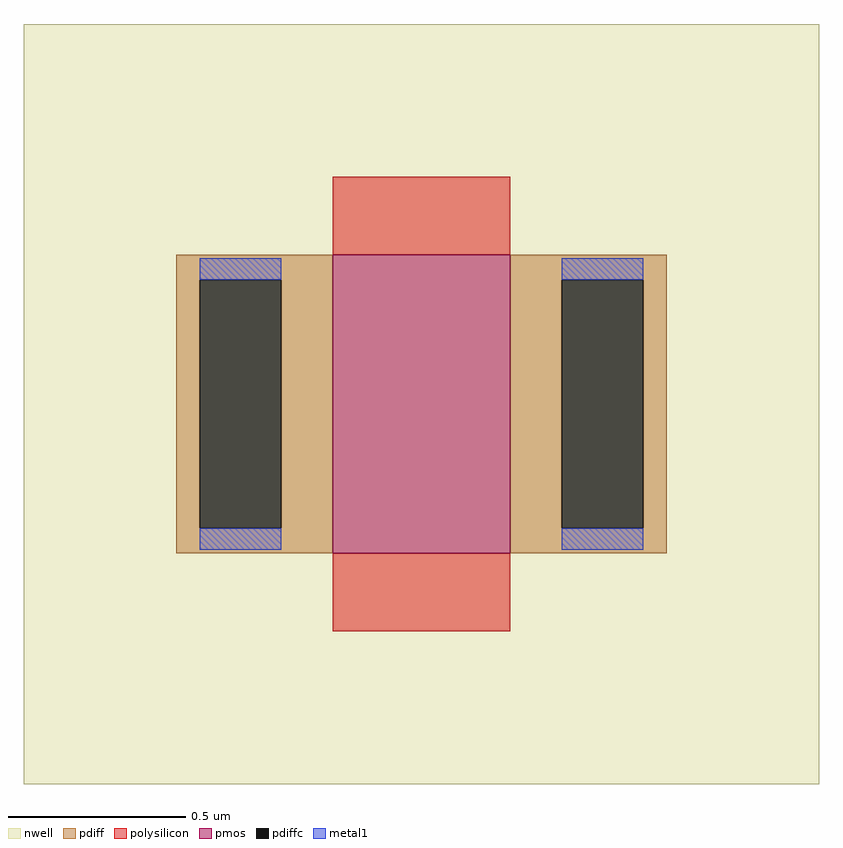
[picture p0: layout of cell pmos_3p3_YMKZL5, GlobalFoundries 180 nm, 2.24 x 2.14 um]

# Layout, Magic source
magic
tech gf180mcuD
magscale 1 10
<< nwell >>
rect -224 -214 224 214
<< pmos >>
rect -50 -84 50 84
<< pdiff >>
rect -138 70 -50 84
rect -138 -70 -125 70
rect -79 -70 -50 70
rect -138 -84 -50 -70
rect 50 70 138 84
rect 50 -70 79 70
rect 125 -70 138 70
rect 50 -84 138 -70
<< pdiffc >>
rect -125 -70 -79 70
rect 79 -70 125 70
<< polysilicon >>
rect -50 84 50 128
rect -50 -128 50 -84
<< metal1 >>
rect -125 70 -79 82
rect -125 -82 -79 -70
rect 79 70 125 82
rect 79 -82 125 -70
<< end >>
